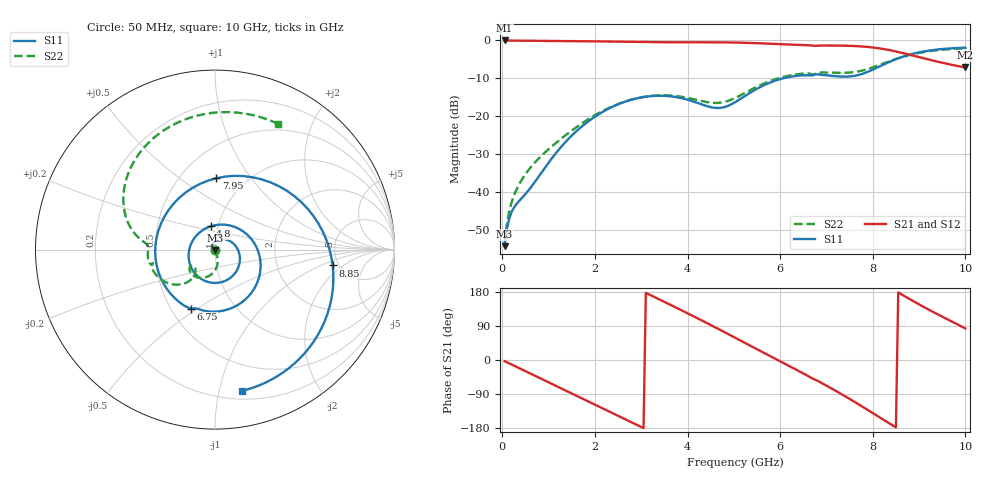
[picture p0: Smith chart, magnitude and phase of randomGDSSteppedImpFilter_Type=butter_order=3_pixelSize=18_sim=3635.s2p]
! freq	dB(S11)	phase(S11)	dB(S12)	phase(S12)
!  dB(S21)	phase(S21)	dB(S22)	phase(S22)
!S-par simulation data
#  GHz  S  DB  R 50
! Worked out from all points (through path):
!   200 points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, 50 MHz to 10 GHz, reference 50 ohm
!   highest |S21| = -0.02 dB at 50 MHz (marker M1); lowest = -7.1 dB at 10 GHz (marker M2)
!   group delay of S21, straight-line fit = 178 ps
!   lowest |S11| = -54.3 dB at 50 MHz (marker M3), VSWR 1.00, Z = 50.1 - j0.134 ohm
!   |S11| at or under -10 dB: start of sweep to 6.069 GHz
!   |S22| runs from -53.7 to -2.1 dB; largest |S21 - S12| = 0
!   S11 on the Smith chart (normalised r, x): 50 MHz: 1.00, -0.00; 4.8 GHz: 0.92, +0.24; 6.75 GHz: 0.63, -0.47; 7.95 GHz: 0.74, +0.70; 8.85 GHz: 4.44, -1.40; 10 GHz: 0.27, -1.17
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0.05  -54.34 -44.3  -0.02 -3.0  -0.02 -3.0  -53.71 -41.6
0.1  -49.75 -53.2  -0.03 -5.9  -0.03 -5.9  -48.44 -46.4
0.2  -45.34 -72.3  -0.05 -11.8  -0.05 -11.8  -42.79 -54.5
0.45  -41.26 -122.0  -0.09 -26.4  -0.09 -26.4  -36.23 -63.8
1.15  -29.89 115.4  -0.16 -67.4  -0.16 -67.4  -27.17 -72.9
1.75  -22.40 50.2  -0.22 -102.8  -0.22 -102.8  -21.66 -80.6
2.65  -16.19 -27.8  -0.37 -156.0  -0.37 -156.0  -16.13 -105.4
3.4  -14.62 -89.2  -0.48 159.4  -0.48 159.4  -14.50 -130.1
4.15  -16.24 -161.7  -0.50 114.1  -0.50 114.1  -15.58 -145.7
4.8  -17.60 100.9  -0.52 73.4  -0.52 73.4  -16.24 -134.8
5.05  -16.16 60.8  -0.57 57.4  -0.57 57.4  -15.08 -129.4
5.45  -13.12 9.8  -0.72 31.7  -0.72 31.7  -12.53 -130.2
5.85  -10.82 -30.7  -0.92 6.0  -0.92 6.0  -10.44 -139.7
6.3  -9.45 -72.0  -1.14 -22.6  -1.14 -22.6  -9.06 -154.6
6.7  -9.26 -107.9  -1.34 -49.1  -1.34 -49.1  -9.02 -167.8
6.75  -8.99 -112.4  -1.46 -51.6  -1.46 -51.6  -8.86 -166.4
7.4  -9.57 168.7  -1.40 -95.4  -1.40 -95.4  -8.56 177.5
7.95  -8.00 88.8  -1.80 -136.3  -1.80 -136.3  -7.33 171.2
8.35  -5.72 39.3  -2.54 -166.8  -2.54 -166.8  -5.54 159.9
8.85  -3.59 -7.7  -3.94 157.0  -3.94 157.0  -3.70 136.3
9.5  -2.28 -52.4  -5.91 114.3  -5.91 114.3  -2.46 97.6
10  -1.92 -79.3  -7.15 83.3  -7.15 83.3  -2.11 63.2
